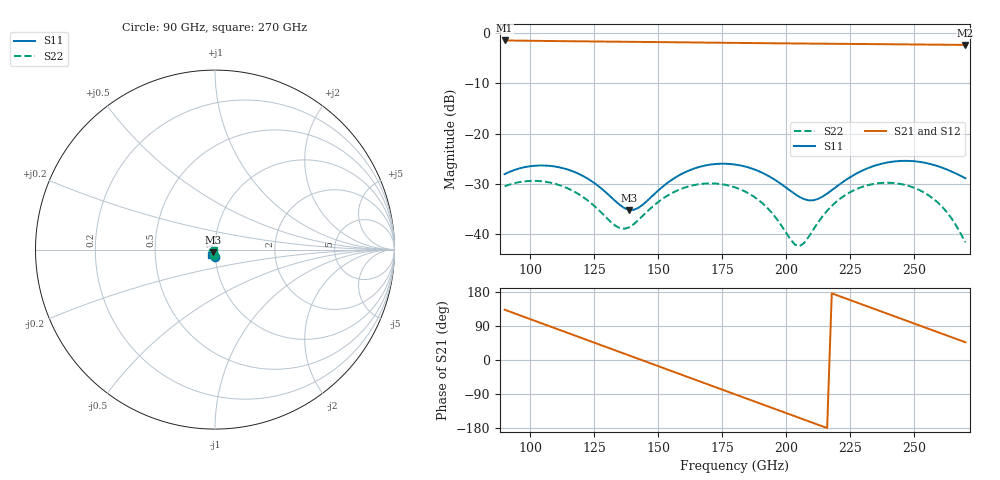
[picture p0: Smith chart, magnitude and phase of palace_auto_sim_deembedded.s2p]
! Created with skrf 1.11.0 (http://scikit-rf.org).
# GHz S DB R 50.0
!freq dBS11 angS11 dBS21 angS21 dBS12 angS12 dBS22 angS22
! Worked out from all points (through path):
!   101 points, 90 GHz to 270 GHz, reference 50 ohm
!   highest |S21| = -1.47 dB at 90 GHz (marker M1); lowest = -2.4 dB at 270 GHz (marker M2)
!   group delay of S21, straight-line fit = 6.88 ps
!   lowest |S11| = -35.1 dB at 138.6 GHz (marker M3), VSWR 1.04, Z = 49.1 - j1.48 ohm
!   |S11| at or under -10 dB: start of sweep to end of sweep
!   |S22| runs from -42.3 to -29.4 dB; largest |S21 - S12| = 1.3e-13
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90  -28.04 -86.5  -1.47 132.7  -1.47 132.7  -30.47 -99.8
99  -26.53 -102.9  -1.52 110.4  -1.52 110.4  -29.41 -118.7
106.2  -26.33 -116.4  -1.57 92.5  -1.57 92.5  -29.57 -134.1
120.6  -28.39 -139.4  -1.65 56.8  -1.65 56.8  -32.56 -159.2
133.2  -33.35 -139.2  -1.71 25.5  -1.71 25.5  -38.25 -150.7
138.6  -35.13 -120.5  -1.74 12.1  -1.74 12.1  -38.61 -127.2
142.2  -34.75 -104.5  -1.75 3.2  -1.75 3.2  -37.18 -115.8
151.2  -30.76 -88.1  -1.80 -19.2  -1.80 -19.2  -33.11 -113.3
167.4  -26.42 -104.0  -1.88 -59.3  -1.88 -59.3  -29.94 -140.0
180  -26.12 -123.2  -1.95 -90.6  -1.95 -90.6  -30.66 -165.4
192.6  -28.26 -137.9  -2.01 -121.7  -2.01 -121.7  -34.72 174.8
203.4  -31.98 -133.3  -2.06 -148.4  -2.06 -148.4  -42.03 -161.4
207  -33.00 -123.8  -2.08 -157.3  -2.08 -157.3  -41.72 -132.7
210.6  -33.22 -111.2  -2.09 -166.2  -2.09 -166.2  -39.05 -116.2
216  -31.90 -95.5  -2.12 -179.6  -2.12 -179.6  -35.31 -112.5
223.2  -29.23 -89.0  -2.15 162.6  -2.15 162.6  -32.15 -121.3
232.2  -26.78 -94.0  -2.19 140.3  -2.19 140.3  -30.18 -138.3
241.2  -25.58 -104.2  -2.23 118.0  -2.23 118.0  -29.77 -157.1
250.2  -25.48 -115.1  -2.27 95.8  -2.27 95.8  -30.79 -175.6
257.4  -26.16 -122.5  -2.30 78.0  -2.30 78.0  -32.89 171.5
264.6  -27.51 -126.3  -2.33 60.2  -2.33 60.2  -36.83 165.0
270  -28.84 -124.8  -2.35 46.8  -2.35 46.8  -41.59 177.8
